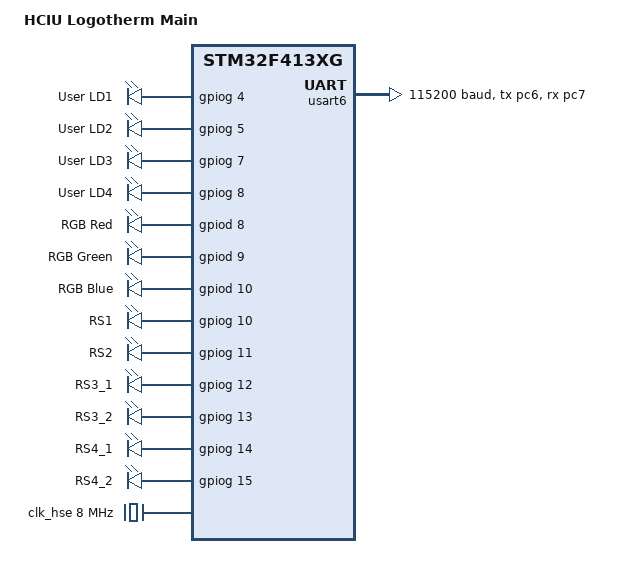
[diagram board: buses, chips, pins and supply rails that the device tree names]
/*
 * HCIU Logotherm Main board - based on STM32F413ZG SoC
 * SPDX-License-Identifier: Apache-2.0
 */

/dts-v1/;
#include <st/f4/stm32f413Xg.dtsi>
#include <st/f4/stm32f413z(g-h)tx-pinctrl.dtsi>
// #include "arduino_r3_connector.dtsi"

/ {
	model = "HCIU Logotherm Main";
	compatible = "logotronic,hciu-logotherm-main";

	chosen {
		zephyr,console = &usart6;
		zephyr,sram = &sram0;
		zephyr,flash = &flash0;
	};

	leds: leds {
		compatible = "gpio-leds";
		led_2: led_2 {
			gpios = <&gpiog 4 GPIO_ACTIVE_HIGH>;
			label = "User LD1";
		};
		led_3: led_3 {
			gpios = <&gpiog 5 GPIO_ACTIVE_HIGH>;
			label = "User LD2";
		};
		led_4: led_4 {
			gpios = <&gpiog 7 GPIO_ACTIVE_HIGH>;
			label = "User LD3";
		};

		led_5: led_5 {
			gpios = <&gpiog 8 GPIO_ACTIVE_HIGH>;
			label = "User LD4";
		};
		led_r: led_r {
			gpios = <&gpiod 8 GPIO_ACTIVE_HIGH>;
			label = "RGB Red";
		};
		led_g: led_g {
			gpios = <&gpiod 9 GPIO_ACTIVE_HIGH>;
			label = "RGB Green";
		};
		led_b: led_b {
			gpios = <&gpiod 10 GPIO_ACTIVE_HIGH>;
			label = "RGB Blue";
		};
	};

	aliases {
		led0 = &led_2;
		led1 = &led_3;
		led2 = &led_4;
		led3 = &led_5;
		ledr = &led_r;
		ledg = &led_g;
		ledb = &led_b;
		relay0 = &relay_rs1;
		relay1 = &relay_rs2;
		relay2 = &relay_rs3_1;
		relay3 = &relay_rs3_2;
		relay4 = &relay_rs4_1;
		relay5 = &relay_rs4_2;
	};

	relays: relays {
		compatible = "gpio-leds";
		relay_rs1: relay_rs1 {
			gpios = <&gpiog 10 GPIO_ACTIVE_HIGH>;
			label = "RS1";
		};
		relay_rs2: relay_rs2 {
			gpios = <&gpiog 11 GPIO_ACTIVE_HIGH>;
			label = "RS2";
		};
		relay_rs3_1: relay_rs3_1 {
			gpios = <&gpiog 12 GPIO_ACTIVE_HIGH>;
			label = "RS3_1";
		};
		relay_rs3_2: relay_rs3_2 {
			gpios = <&gpiog 13 GPIO_ACTIVE_HIGH>;
			label = "RS3_2";
		};
		relay_rs4_1: relay_rs4_1 {
			gpios = <&gpiog 14 GPIO_ACTIVE_HIGH>;
			label = "RS4_1";
		};
		relay_rs4_2: relay_rs4_2 {
			gpios = <&gpiog 15 GPIO_ACTIVE_HIGH>;
			label = "RS4_2";
		};
	};
};

&clk_hse {
	clock-frequency = <DT_FREQ_M(8)>;
	status = "okay";
	/* Crystal oscillator (Y2, 8 MHz) — no hse-bypass */
};

&pll {
	div-m = <4>;    /* VCO input = 8 MHz / 4 = 2 MHz */
	mul-n = <192>;  /* VCO = 2 × 192 = 384 MHz      */
	div-p = <4>;    /* SYSCLK = 384 / 4 = 96 MHz     */
	div-q = <8>;    /* USB/SDIO = 384 / 8 = 48 MHz   */
	clocks = <&clk_hse>;
	status = "okay";
};

&rcc {
	clocks = <&pll>;
	clock-frequency = <DT_FREQ_M(96)>;
	ahb-prescaler = <1>;
	apb1-prescaler = <2>;  /* APB1 = 48 MHz (max 50 MHz) */
	apb2-prescaler = <1>;  /* APB2 = 96 MHz              */
};

/* USART3 disabled: PD8/PD9 reassigned to RGB LED */
&usart3 {
	status = "disabled";
};

&usart6 {
	/* Moved to PC6/PC7 — PG14 reassigned to relay RS4_1 */
	pinctrl-0 = <&usart6_tx_pc6 &usart6_rx_pc7>;
	pinctrl-names = "default";
	current-speed = <115200>;
	status = "okay";
};

&i2c1 {
	status = "disabled";
};

&spi1 {
	status = "disabled";
};

&usbotg_fs {
	status = "disabled";
};

&timers2 {
	status = "disabled";
};

&rtc {
	status = "disabled";
};
